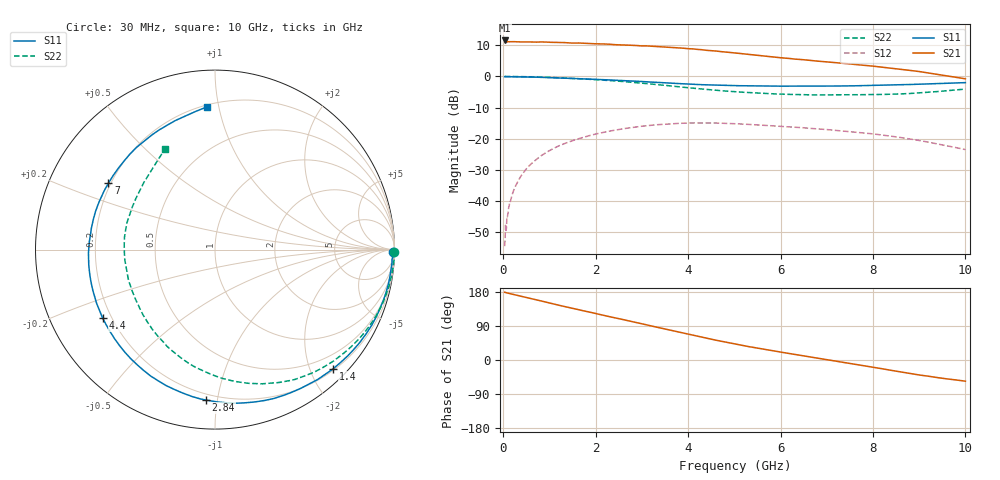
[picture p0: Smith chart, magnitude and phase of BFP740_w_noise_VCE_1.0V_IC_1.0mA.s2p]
! (c) 2016  Infineon Technologies AG, Munich
! Infineon Technologies  Discrete & RF Semiconductors
! BFP740
! VCE =  1.0 V,  IC =  1.0 mA
! Common Emitter S-Parameters:  Jan 2016
# GHz  S  MA  R  50
!  f  S11  S21  S12  S22
! GHz  MAG  ANG  MAG  ANG  MAG  ANG  MAG  ANG
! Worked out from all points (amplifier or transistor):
!   229 points, 30 MHz to 10 GHz, reference 50 ohm
!   highest |S21| = 11.5 dB at 30 MHz (marker M1)
!   |S21| within 3 dB of that: start of sweep to 4.313 GHz
!   unconditionally stable (mu >= 1): 8.942 GHz to end of sweep
!   at 280 MHz: K = 0.02, MSG = 22.9 dB, |S12| = -34.8 dB
!   at 1.78 GHz: K = 0.16, MSG = 15.0 dB, |S12| = -19.3 dB
!   at 10 GHz: K = 1.34, MAG = 7.9 dB, |S12| = -23.5 dB
!   lowest NFmin = 0.50 dB at 450 MHz
!   S11 on the Smith chart (normalised r, x): 30 MHz: open; 1.4 GHz: 0.23, -2.38; 2.84 GHz: 0.16, -0.93; 4.4 GHz: 0.17, -0.27; 7 GHz: 0.19, +0.28; 10 GHz: 0.21, +0.92
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0.03  0.9893 -0.9  3.773 178.7  0.0019 83.3  0.9996 -0.7
0.04  0.9896 -1.3  3.567 178.3  0.0024 88.9  1 -0.9
0.05  0.9917 -1.6  3.585 178.3  0.0041 82.2  0.9983 -1.3
0.065  0.9901 -2.1  3.572 177.6  0.0035 86.1  0.9986 -1.6
0.08  0.9896 -2.6  3.576 177.1  0.0057 90.5  1 -1.9
0.14  0.9883 -4.5  3.606 175.4  0.0096 85.3  0.9985 -3.4
0.36  0.9845 -11.5  3.576 169.1  0.0237 80.7  0.9942 -8.7
0.88  0.9651 -28.3  3.57 154.1  0.0573 67.7  0.9729 -21.3
1.4  0.9351 -45.2  3.455 139.1  0.0879 54.4  0.9375 -33.8
1.7  0.9149 -55.0  3.415 130.8  0.104 47.2  0.9126 -41.0
2.3  0.8776 -75.2  3.288 114.3  0.1329 32.6  0.8585 -55.8
2.84  0.8398 -93.4  3.137 99.9  0.1536 19.9  0.7984 -69.1
3.4  0.7968 -113.3  2.991 84.5  0.1696 6.5  0.7301 -84.1
3.9  0.761 -131.2  2.834 70.8  0.178 -5.3  0.6702 -97.8
4.4  0.7334 -148.5  2.62 57.5  0.1794 -16.7  0.6178 -111.3
5.1  0.7099 -170.5  2.342 40.2  0.1735 -31.1  0.5647 -128.3
5.8  0.6985 172.2  2.067 24.9  0.1619 -43.3  0.5269 -144.4
6.8  0.699 152.1  1.76 4.9  0.1442 -58.4  0.5053 -168.7
7  0.6995 148.1  1.712 0.9  0.1407 -61.4  0.5058 -173.6
8.4  0.7291 118.9  1.358 -27.4  0.1099 -80.9  0.5185 152.6
9  0.752 107.2  1.198 -39.5  0.094 -88.1  0.5449 136.7
10  0.7956 93.4  0.916 -55.9  0.0672 -94.0  0.6272 116.3
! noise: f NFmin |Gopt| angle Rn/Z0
0.45  0.5  0.62  13  0.41
0.9  0.58  0.64  21  0.39
1.5  0.71  0.61  32  0.38
1.9  0.76  0.58  45  0.37
2.4  0.81  0.58  52  0.35
3.5  0.96  0.55  78  0.32
5.5  1.37  0.4  148  0.29
10  2.28  0.63  -92  0.39
